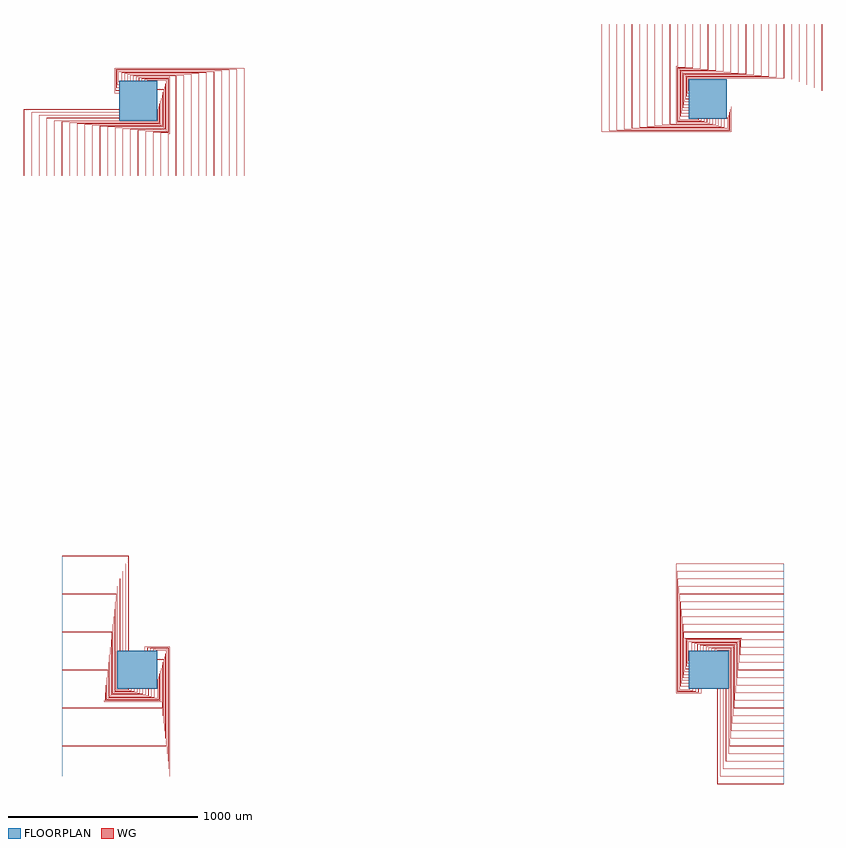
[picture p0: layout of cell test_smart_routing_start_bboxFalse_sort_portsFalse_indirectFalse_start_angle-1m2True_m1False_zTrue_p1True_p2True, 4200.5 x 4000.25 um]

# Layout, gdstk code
import gdstk
lib = gdstk.Library(unit=1e-6, precision=1e-09)
def R(c, l, rs):  # rectangles x0, y0, x1, y1
    for r in rs: c.add(gdstk.rectangle(r[:2], r[2:], *l))
def P(c, l, *ps):  # polygons
    for p in ps: c.add(gdstk.Polygon(p, *l))
WG = (1, 0)
FLOORPLAN = (10, 0)

test_smart_routing_start = lib.new_cell('test_smart_routing_start_bboxFalse_sort_portsFalse_indirectFalse_start_angle-1m2True_m1False_zTrue_p1True_p2True')
P(test_smart_routing_start, WG, [(3100,3050.05),(3100,3050.25),(3599.75,3050.25),(3599.75,3400),(3599.95,3400),(3599.95,3050.05)],
  [(3100,3049.75),(3100,3049.95),(3600.05,3049.95),(3600.05,3400),(3600.25,3400),(3600.25,3049.75)],
  [(3100,3065.05),(3100,3065.25),(3559.75,3065.25),(3559.75,3400),(3559.95,3400),(3559.95,3065.05)],
  [(3100,3064.75),(3100,3064.95),(3560.05,3064.95),(3560.05,3400),(3560.25,3400),(3560.25,3064.75)],
  [(3100,3080.05),(3100,3080.25),(3519.75,3080.25),(3519.75,3400),(3519.95,3400),(3519.95,3080.05)],
  [(3100,3079.75),(3100,3079.95),(3520.05,3079.95),(3520.05,3400),(3520.25,3400),(3520.25,3079.75)],
  [(3100,3095.05),(3100,3095.25),(3479.75,3095.25),(3479.75,3400),(3479.95,3400),(3479.95,3095.05)],
  [(3100,3094.75),(3100,3094.95),(3480.05,3094.95),(3480.05,3400),(3480.25,3400),(3480.25,3094.75)],
  [(3100,3110.05),(3100,3110.25),(3439.75,3110.25),(3439.75,3400),(3439.95,3400),(3439.95,3110.05)],
  [(3100,3109.75),(3100,3109.95),(3440.05,3109.95),(3440.05,3400),(3440.25,3400),(3440.25,3109.75)],
  [(2895.5,3049.75),(2895.5,3114.75),(3399.75,3114.75),(3399.75,3400),(3399.95,3400),(3399.95,3114.55),(2895.7,3114.55),(2895.7,3049.95),(2900,3049.95),(2900,3049.75)],
  [(2895.8,3050.05),(2895.8,3114.45),(3400.05,3114.45),(3400.05,3400),(3400.25,3400),(3400.25,3114.25),(2896,3114.25),(2896,3050.25),(2900,3050.25),(2900,3050.05)],
  [(2891,3034.75),(2891,3119.25),(3359.75,3119.25),(3359.75,3400),(3359.95,3400),(3359.95,3119.05),(2891.2,3119.05),(2891.2,3034.95),(2900,3034.95),(2900,3034.75)],
  [(2891.3,3035.05),(2891.3,3118.95),(3360.05,3118.95),(3360.05,3400),(3360.25,3400),(3360.25,3118.75),(2891.5,3118.75),(2891.5,3035.25),(2900,3035.25),(2900,3035.05)],
  [(2886.5,3019.75),(2886.5,3123.75),(3319.75,3123.75),(3319.75,3400),(3319.95,3400),(3319.95,3123.55),(2886.7,3123.55),(2886.7,3019.95),(2900,3019.95),(2900,3019.75)],
  [(2886.8,3020.05),(2886.8,3123.45),(3320.05,3123.45),(3320.05,3400),(3320.25,3400),(3320.25,3123.25),(2887,3123.25),(2887,3020.25),(2900,3020.25),(2900,3020.05)],
  [(2882,3004.75),(2882,3128.25),(3279.75,3128.25),(3279.75,3400),(3279.95,3400),(3279.95,3128.05),(2882.2,3128.05),(2882.2,3004.95),(2900,3004.95),(2900,3004.75)],
  [(2882.3,3005.05),(2882.3,3127.95),(3280.05,3127.95),(3280.05,3400),(3280.25,3400),(3280.25,3127.75),(2882.5,3127.75),(2882.5,3005.25),(2900,3005.25),(2900,3005.05)],
  [(2877.5,2989.75),(2877.5,3132.75),(3239.75,3132.75),(3239.75,3400),(3239.95,3400),(3239.95,3132.55),(2877.7,3132.55),(2877.7,2989.95),(2900,2989.95),(2900,2989.75)],
  [(2877.8,2990.05),(2877.8,3132.45),(3240.05,3132.45),(3240.05,3400),(3240.25,3400),(3240.25,3132.25),(2878,3132.25),(2878,2990.25),(2900,2990.25),(2900,2990.05)],
  [(2873,2974.75),(2873,3137.25),(3199.75,3137.25),(3199.75,3400),(3199.95,3400),(3199.95,3137.05),(2873.2,3137.05),(2873.2,2974.95),(2900,2974.95),(2900,2974.75)],
  [(2873.3,2975.05),(2873.3,3136.95),(3200.05,3136.95),(3200.05,3400),(3200.25,3400),(3200.25,3136.75),(2873.5,3136.75),(2873.5,2975.25),(2900,2975.25),(2900,2975.05)],
  [(2868.5,2959.75),(2868.5,3141.75),(3159.75,3141.75),(3159.75,3400),(3159.95,3400),(3159.95,3141.55),(2868.7,3141.55),(2868.7,2959.95),(2900,2959.95),(2900,2959.75)],
  [(2868.8,2960.05),(2868.8,3141.45),(3160.05,3141.45),(3160.05,3400),(3160.25,3400),(3160.25,3141.25),(2869,3141.25),(2869,2960.25),(2900,2960.25),(2900,2960.05)],
  [(2864,2944.75),(2864,3146.25),(3119.75,3146.25),(3119.75,3400),(3119.95,3400),(3119.95,3146.05),(2864.2,3146.05),(2864.2,2944.95),(2900,2944.95),(2900,2944.75)],
  [(2864.3,2945.05),(2864.3,3145.95),(3120.05,3145.95),(3120.05,3400),(3120.25,3400),(3120.25,3145.75),(2864.5,3145.75),(2864.5,2945.25),(2900,2945.25),(2900,2945.05)],
  [(2859.5,2929.75),(2859.5,3150.75),(3079.75,3150.75),(3079.75,3400),(3079.95,3400),(3079.95,3150.55),(2859.7,3150.55),(2859.7,2929.95),(2900,2929.95),(2900,2929.75)],
  [(2859.8,2930.05),(2859.8,3150.45),(3080.05,3150.45),(3080.05,3400),(3080.25,3400),(3080.25,3150.25),(2860,3150.25),(2860,2930.25),(2900,2930.25),(2900,2930.05)],
  [(2855,2914.75),(2855,3155.25),(3039.75,3155.25),(3039.75,3400),(3039.95,3400),(3039.95,3155.05),(2855.2,3155.05),(2855.2,2914.95),(2900,2914.95),(2900,2914.75)],
  [(2855.3,2915.05),(2855.3,3154.95),(3040.05,3154.95),(3040.05,3400),(3040.25,3400),(3040.25,3154.75),(2855.5,3154.75),(2855.5,2915.25),(2900,2915.25),(2900,2915.05)],
  [(2850.5,2895.5),(2850.5,3159.75),(2999.75,3159.75),(2999.75,3400),(2999.95,3400),(2999.95,3159.55),(2850.7,3159.55),(2850.7,2895.7),(2950.05,2895.7),(2950.05,2900),(2950.25,2900),(2950.25,2895.5)],
  [(2850.8,2895.8),(2850.8,3159.45),(3000.05,3159.45),(3000.05,3400),(3000.25,3400),(3000.25,3159.25),(2851,3159.25),(2851,2896),(2949.75,2896),(2949.75,2900),(2949.95,2900),(2949.95,2895.8)],
  [(2846,2891),(2846,3164.25),(2959.75,3164.25),(2959.75,3400),(2959.95,3400),(2959.95,3164.05),(2846.2,3164.05),(2846.2,2891.2),(2965.05,2891.2),(2965.05,2900),(2965.25,2900),(2965.25,2891)],
  [(2846.3,2891.3),(2846.3,3163.95),(2960.05,3163.95),(2960.05,3400),(2960.25,3400),(2960.25,3163.75),(2846.5,3163.75),(2846.5,2891.5),(2964.75,2891.5),(2964.75,2900),(2964.95,2900),(2964.95,2891.3)],
  [(2841.5,2886.5),(2841.5,3168.75),(2919.75,3168.75),(2919.75,3400),(2919.95,3400),(2919.95,3168.55),(2841.7,3168.55),(2841.7,2886.7),(2980.05,2886.7),(2980.05,2900),(2980.25,2900),(2980.25,2886.5)],
  [(2841.8,2886.8),(2841.8,3168.45),(2920.05,3168.45),(2920.05,3400),(2920.25,3400),(2920.25,3168.25),(2842,3168.25),(2842,2887),(2979.75,2887),(2979.75,2900),(2979.95,2900),(2979.95,2886.8)],
  [(2837,2882),(2837,3173.25),(2879.75,3173.25),(2879.75,3400),(2879.95,3400),(2879.95,3173.05),(2837.2,3173.05),(2837.2,2882.2),(2995.05,2882.2),(2995.05,2900),(2995.25,2900),(2995.25,2882)],
  [(2837.3,2882.3),(2837.3,3172.95),(2880.05,3172.95),(2880.05,3400),(2880.25,3400),(2880.25,3172.75),(2837.5,3172.75),(2837.5,2882.5),(2994.75,2882.5),(2994.75,2900),(2994.95,2900),(2994.95,2882.3)],
  [(2832.5,2877.5),(2832.5,3177.75),(2839.75,3177.75),(2839.75,3400),(2839.95,3400),(2839.95,3177.55),(2832.7,3177.55),(2832.7,2877.7),(3010.05,2877.7),(3010.05,2900),(3010.25,2900),(3010.25,2877.5)],
  [(2832.8,2877.8),(2832.8,3177.45),(2840.05,3177.45),(2840.05,3400),(2840.25,3400),(2840.25,3177.25),(2833,3177.25),(2833,2878),(3009.75,2878),(3009.75,2900),(3009.95,2900),(3009.95,2877.8)],
  [(2799.75,2873),(2799.75,3400),(2799.95,3400),(2799.95,2873.2),(3025.05,2873.2),(3025.05,2900),(3025.25,2900),(3025.25,2873)],
  [(2800.05,2873.3),(2800.05,3400),(2800.25,3400),(2800.25,2873.5),(3024.75,2873.5),(3024.75,2900),(3024.95,2900),(3024.95,2873.3)],
  [(2759.75,2868.5),(2759.75,3400),(2759.95,3400),(2759.95,2868.7),(3040.05,2868.7),(3040.05,2900),(3040.25,2900),(3040.25,2868.5)],
  [(2760.05,2868.8),(2760.05,3400),(2760.25,3400),(2760.25,2869),(3039.75,2869),(3039.75,2900),(3039.95,2900),(3039.95,2868.8)],
  [(2719.75,2864),(2719.75,3400),(2719.95,3400),(2719.95,2864.2),(3055.05,2864.2),(3055.05,2900),(3055.25,2900),(3055.25,2864)],
  [(2720.05,2864.3),(2720.05,3400),(2720.25,3400),(2720.25,2864.5),(3054.75,2864.5),(3054.75,2900),(3054.95,2900),(3054.95,2864.3)],
  [(2679.75,2859.5),(2679.75,3400),(2679.95,3400),(2679.95,2859.7),(3070.05,2859.7),(3070.05,2900),(3070.25,2900),(3070.25,2859.5)],
  [(2680.05,2859.8),(2680.05,3400),(2680.25,3400),(2680.25,2860),(3069.75,2860),(3069.75,2900),(3069.95,2900),(3069.95,2859.8)],
  [(2639.75,2855),(2639.75,3400),(2639.95,3400),(2639.95,2855.2),(3085.05,2855.2),(3085.05,2900),(3085.25,2900),(3085.25,2855)],
  [(2640.05,2855.3),(2640.05,3400),(2640.25,3400),(2640.25,2855.5),(3084.75,2855.5),(3084.75,2900),(3084.95,2900),(3084.95,2855.3)],
  [(2439.75,2832.5),(2439.75,3400),(2439.95,3400),(2439.95,2832.7),(3122.3,2832.7),(3122.3,2965.05),(3100,2965.05),(3100,2965.25),(3122.5,2965.25),(3122.5,2832.5)],
  [(2440.05,2832.8),(2440.05,3400),(2440.25,3400),(2440.25,2833),(3122,2833),(3122,2964.75),(3100,2964.75),(3100,2964.95),(3122.2,2964.95),(3122.2,2832.8)],
  [(2479.75,2837),(2479.75,3400),(2479.95,3400),(2479.95,2837.2),(3117.8,2837.2),(3117.8,2950.05),(3100,2950.05),(3100,2950.25),(3118,2950.25),(3118,2837)],
  [(2480.05,2837.3),(2480.05,3400),(2480.25,3400),(2480.25,2837.5),(3117.5,2837.5),(3117.5,2949.75),(3100,2949.75),(3100,2949.95),(3117.7,2949.95),(3117.7,2837.3)],
  [(2519.75,2841.5),(2519.75,3400),(2519.95,3400),(2519.95,2841.7),(3113.3,2841.7),(3113.3,2935.05),(3100,2935.05),(3100,2935.25),(3113.5,2935.25),(3113.5,2841.5)],
  [(2520.05,2841.8),(2520.05,3400),(2520.25,3400),(2520.25,2842),(3113,2842),(3113,2934.75),(3100,2934.75),(3100,2934.95),(3113.2,2934.95),(3113.2,2841.8)],
  [(2559.75,2846),(2559.75,3400),(2559.95,3400),(2559.95,2846.2),(3108.8,2846.2),(3108.8,2920.05),(3100,2920.05),(3100,2920.25),(3109,2920.25),(3109,2846)],
  [(2560.05,2846.3),(2560.05,3400),(2560.25,3400),(2560.25,2846.5),(3108.5,2846.5),(3108.5,2919.75),(3100,2919.75),(3100,2919.95),(3108.7,2919.95),(3108.7,2846.3)],
  [(2599.75,2850.5),(2599.75,3400),(2599.95,3400),(2599.95,2850.7),(3104.3,2850.7),(3104.3,2905.05),(3100,2905.05),(3100,2905.25),(3104.5,2905.25),(3104.5,2850.5)],
  [(2600.05,2850.8),(2600.05,3400),(2600.25,3400),(2600.25,2851),(3104,2851),(3104,2904.75),(3100,2904.75),(3100,2904.95),(3104.2,2904.95),(3104.2,2850.8)],
  [(-599.95,2600),(-599.95,2949.95),(-100,2949.95),(-100,2949.75),(-599.75,2949.75),(-599.75,2600)],
  [(-600.25,2600),(-600.25,2950.25),(-100,2950.25),(-100,2950.05),(-600.05,2950.05),(-600.05,2600)],
  [(-559.95,2600),(-559.95,2934.95),(-100,2934.95),(-100,2934.75),(-559.75,2934.75),(-559.75,2600)],
  [(-560.25,2600),(-560.25,2935.25),(-100,2935.25),(-100,2935.05),(-560.05,2935.05),(-560.05,2600)],
  [(-519.95,2600),(-519.95,2919.95),(-100,2919.95),(-100,2919.75),(-519.75,2919.75),(-519.75,2600)],
  [(-520.25,2600),(-520.25,2920.25),(-100,2920.25),(-100,2920.05),(-520.05,2920.05),(-520.05,2600)],
  [(-479.95,2600),(-479.95,2904.95),(-100,2904.95),(-100,2904.75),(-479.75,2904.75),(-479.75,2600)],
  [(-480.25,2600),(-480.25,2905.25),(-100,2905.25),(-100,2905.05),(-480.05,2905.05),(-480.05,2600)],
  [(-439.95,2600),(-439.95,2889.95),(-100,2889.95),(-100,2889.75),(-439.75,2889.75),(-439.75,2600)],
  [(-440.25,2600),(-440.25,2890.25),(-100,2890.25),(-100,2890.05),(-440.05,2890.05),(-440.05,2600)],
  [(-400.25,2600),(-400.25,2885.75),(104,2885.75),(104,2949.75),(100,2949.75),(100,2949.95),(104.2,2949.95),(104.2,2885.55),(-400.05,2885.55),(-400.05,2600)],
  [(-399.95,2600),(-399.95,2885.45),(104.3,2885.45),(104.3,2950.05),(100,2950.05),(100,2950.25),(104.5,2950.25),(104.5,2885.25),(-399.75,2885.25),(-399.75,2600)],
  [(-360.25,2600),(-360.25,2881.25),(108.5,2881.25),(108.5,2964.75),(100,2964.75),(100,2964.95),(108.7,2964.95),(108.7,2881.05),(-360.05,2881.05),(-360.05,2600)],
  [(-359.95,2600),(-359.95,2880.95),(108.8,2880.95),(108.8,2965.05),(100,2965.05),(100,2965.25),(109,2965.25),(109,2880.75),(-359.75,2880.75),(-359.75,2600)],
  [(-320.25,2600),(-320.25,2876.75),(113,2876.75),(113,2979.75),(100,2979.75),(100,2979.95),(113.2,2979.95),(113.2,2876.55),(-320.05,2876.55),(-320.05,2600)],
  [(-319.95,2600),(-319.95,2876.45),(113.3,2876.45),(113.3,2980.05),(100,2980.05),(100,2980.25),(113.5,2980.25),(113.5,2876.25),(-319.75,2876.25),(-319.75,2600)],
  [(-280.25,2600),(-280.25,2872.25),(117.5,2872.25),(117.5,2994.75),(100,2994.75),(100,2994.95),(117.7,2994.95),(117.7,2872.05),(-280.05,2872.05),(-280.05,2600)],
  [(-279.95,2600),(-279.95,2871.95),(117.8,2871.95),(117.8,2995.05),(100,2995.05),(100,2995.25),(118,2995.25),(118,2871.75),(-279.75,2871.75),(-279.75,2600)],
  [(-240.25,2600),(-240.25,2867.75),(122,2867.75),(122,3009.75),(100,3009.75),(100,3009.95),(122.2,3009.95),(122.2,2867.55),(-240.05,2867.55),(-240.05,2600)],
  [(-239.95,2600),(-239.95,2867.45),(122.3,2867.45),(122.3,3010.05),(100,3010.05),(100,3010.25),(122.5,3010.25),(122.5,2867.25),(-239.75,2867.25),(-239.75,2600)],
  [(-200.25,2600),(-200.25,2863.25),(126.5,2863.25),(126.5,3024.75),(100,3024.75),(100,3024.95),(126.7,3024.95),(126.7,2863.05),(-200.05,2863.05),(-200.05,2600)],
  [(-199.95,2600),(-199.95,2862.95),(126.8,2862.95),(126.8,3025.05),(100,3025.05),(100,3025.25),(127,3025.25),(127,2862.75),(-199.75,2862.75),(-199.75,2600)],
  [(-160.25,2600),(-160.25,2858.75),(131,2858.75),(131,3039.75),(100,3039.75),(100,3039.95),(131.2,3039.95),(131.2,2858.55),(-160.05,2858.55),(-160.05,2600)],
  [(-159.95,2600),(-159.95,2858.45),(131.3,2858.45),(131.3,3040.05),(100,3040.05),(100,3040.25),(131.5,3040.25),(131.5,2858.25),(-159.75,2858.25),(-159.75,2600)],
  [(-120.25,2600),(-120.25,2854.25),(135.5,2854.25),(135.5,3054.75),(100,3054.75),(100,3054.95),(135.7,3054.95),(135.7,2854.05),(-120.05,2854.05),(-120.05,2600)],
  [(-119.95,2600),(-119.95,2853.95),(135.8,2853.95),(135.8,3055.05),(100,3055.05),(100,3055.25),(136,3055.25),(136,2853.75),(-119.75,2853.75),(-119.75,2600)],
  [(-80.25,2600),(-80.25,2849.75),(140,2849.75),(140,3069.75),(100,3069.75),(100,3069.95),(140.2,3069.95),(140.2,2849.55),(-80.05,2849.55),(-80.05,2600)],
  [(-79.95,2600),(-79.95,2849.45),(140.3,2849.45),(140.3,3070.05),(100,3070.05),(100,3070.25),(140.5,3070.25),(140.5,2849.25),(-79.75,2849.25),(-79.75,2600)],
  [(-40.25,2600),(-40.25,2845.25),(144.5,2845.25),(144.5,3084.75),(100,3084.75),(100,3084.95),(144.7,3084.95),(144.7,2845.05),(-40.05,2845.05),(-40.05,2600)],
  [(-39.95,2600),(-39.95,2844.95),(144.8,2844.95),(144.8,3085.05),(100,3085.05),(100,3085.25),(145,3085.25),(145,2844.75),(-39.75,2844.75),(-39.75,2600)],
  [(-0.25,2600),(-0.25,2840.75),(149,2840.75),(149,3104),(50.25,3104),(50.25,3100),(50.05,3100),(50.05,3104.2),(149.2,3104.2),(149.2,2840.55),(-0.05,2840.55),(-0.05,2600)],
  [(0.05,2600),(0.05,2840.45),(149.3,2840.45),(149.3,3104.3),(49.95,3104.3),(49.95,3100),(49.75,3100),(49.75,3104.5),(149.5,3104.5),(149.5,2840.25),(0.25,2840.25),(0.25,2600)],
  [(39.75,2600),(39.75,2836.25),(153.5,2836.25),(153.5,3108.5),(35.25,3108.5),(35.25,3100),(35.05,3100),(35.05,3108.7),(153.7,3108.7),(153.7,2836.05),(39.95,2836.05),(39.95,2600)],
  [(40.05,2600),(40.05,2835.95),(153.8,2835.95),(153.8,3108.8),(34.95,3108.8),(34.95,3100),(34.75,3100),(34.75,3109),(154,3109),(154,2835.75),(40.25,2835.75),(40.25,2600)],
  [(79.75,2600),(79.75,2831.75),(158,2831.75),(158,3113),(20.25,3113),(20.25,3100),(20.05,3100),(20.05,3113.2),(158.2,3113.2),(158.2,2831.55),(79.95,2831.55),(79.95,2600)],
  [(80.05,2600),(80.05,2831.45),(158.3,2831.45),(158.3,3113.3),(19.95,3113.3),(19.95,3100),(19.75,3100),(19.75,3113.5),(158.5,3113.5),(158.5,2831.25),(80.25,2831.25),(80.25,2600)],
  [(119.75,2600),(119.75,2827.25),(162.5,2827.25),(162.5,3117.5),(5.25,3117.5),(5.25,3100),(5.05,3100),(5.05,3117.7),(162.7,3117.7),(162.7,2827.05),(119.95,2827.05),(119.95,2600)],
  [(120.05,2600),(120.05,2826.95),(162.8,2826.95),(162.8,3117.8),(4.95,3117.8),(4.95,3100),(4.75,3100),(4.75,3118),(163,3118),(163,2826.75),(120.25,2826.75),(120.25,2600)],
  [(159.75,2600),(159.75,2822.75),(167,2822.75),(167,3122),(-9.75,3122),(-9.75,3100),(-9.95,3100),(-9.95,3122.2),(167.2,3122.2),(167.2,2822.55),(159.95,2822.55),(159.95,2600)],
  [(160.05,2600),(160.05,2822.45),(167.3,2822.45),(167.3,3122.3),(-10.05,3122.3),(-10.05,3100),(-10.25,3100),(-10.25,3122.5),(167.5,3122.5),(167.5,2822.25),(160.25,2822.25),(160.25,2600)],
  [(199.75,2600),(199.75,3126.5),(-24.75,3126.5),(-24.75,3100),(-24.95,3100),(-24.95,3126.7),(199.95,3126.7),(199.95,2600)],
  [(200.05,2600),(200.05,3126.8),(-25.05,3126.8),(-25.05,3100),(-25.25,3100),(-25.25,3127),(200.25,3127),(200.25,2600)],
  [(239.75,2600),(239.75,3131),(-39.75,3131),(-39.75,3100),(-39.95,3100),(-39.95,3131.2),(239.95,3131.2),(239.95,2600)],
  [(240.05,2600),(240.05,3131.3),(-40.05,3131.3),(-40.05,3100),(-40.25,3100),(-40.25,3131.5),(240.25,3131.5),(240.25,2600)],
  [(279.75,2600),(279.75,3135.5),(-54.75,3135.5),(-54.75,3100),(-54.95,3100),(-54.95,3135.7),(279.95,3135.7),(279.95,2600)],
  [(280.05,2600),(280.05,3135.8),(-55.05,3135.8),(-55.05,3100),(-55.25,3100),(-55.25,3136),(280.25,3136),(280.25,2600)],
  [(319.75,2600),(319.75,3140),(-69.75,3140),(-69.75,3100),(-69.95,3100),(-69.95,3140.2),(319.95,3140.2),(319.95,2600)],
  [(320.05,2600),(320.05,3140.3),(-70.05,3140.3),(-70.05,3100),(-70.25,3100),(-70.25,3140.5),(320.25,3140.5),(320.25,2600)],
  [(359.75,2600),(359.75,3144.5),(-84.75,3144.5),(-84.75,3100),(-84.95,3100),(-84.95,3144.7),(359.95,3144.7),(359.95,2600)],
  [(360.05,2600),(360.05,3144.8),(-85.05,3144.8),(-85.05,3100),(-85.25,3100),(-85.25,3145),(360.25,3145),(360.25,2600)],
  [(559.75,2600),(559.75,3167),(-122,3167),(-122,3035.25),(-100,3035.25),(-100,3035.05),(-122.2,3035.05),(-122.2,3167.2),(559.95,3167.2),(559.95,2600)],
  [(560.05,2600),(560.05,3167.3),(-122.3,3167.3),(-122.3,3034.95),(-100,3034.95),(-100,3034.75),(-122.5,3034.75),(-122.5,3167.5),(560.25,3167.5),(560.25,2600)],
  [(519.75,2600),(519.75,3162.5),(-117.5,3162.5),(-117.5,3050.25),(-100,3050.25),(-100,3050.05),(-117.7,3050.05),(-117.7,3162.7),(519.95,3162.7),(519.95,2600)],
  [(520.05,2600),(520.05,3162.8),(-117.8,3162.8),(-117.8,3049.95),(-100,3049.95),(-100,3049.75),(-118,3049.75),(-118,3163),(520.25,3163),(520.25,2600)],
  [(479.75,2600),(479.75,3158),(-113,3158),(-113,3065.25),(-100,3065.25),(-100,3065.05),(-113.2,3065.05),(-113.2,3158.2),(479.95,3158.2),(479.95,2600)],
  [(480.05,2600),(480.05,3158.3),(-113.3,3158.3),(-113.3,3064.95),(-100,3064.95),(-100,3064.75),(-113.5,3064.75),(-113.5,3158.5),(480.25,3158.5),(480.25,2600)],
  [(439.75,2600),(439.75,3153.5),(-108.5,3153.5),(-108.5,3080.25),(-100,3080.25),(-100,3080.05),(-108.7,3080.05),(-108.7,3153.7),(439.95,3153.7),(439.95,2600)],
  [(440.05,2600),(440.05,3153.8),(-108.8,3153.8),(-108.8,3079.95),(-100,3079.95),(-100,3079.75),(-109,3079.75),(-109,3154),(440.25,3154),(440.25,2600)],
  [(399.75,2600),(399.75,3149),(-104,3149),(-104,3095.25),(-100,3095.25),(-100,3095.05),(-104.2,3095.05),(-104.2,3149.2),(399.95,3149.2),(399.95,2600)],
  [(400.05,2600),(400.05,3149.3),(-104.3,3149.3),(-104.3,3094.95),(-100,3094.95),(-100,3094.75),(-104.5,3094.75),(-104.5,3149.5),(400.25,3149.5),(400.25,2600)],
  [(-50.25,100),(-50.25,599.75),(-400,599.75),(-400,599.95),(-50.05,599.95),(-50.05,100)],
  [(-49.95,100),(-49.95,600.05),(-400,600.05),(-400,600.25),(-49.75,600.25),(-49.75,100)],
  [(-65.25,100),(-65.25,559.75),(-400,559.75),(-400,559.95),(-65.05,559.95),(-65.05,100)],
  [(-64.95,100),(-64.95,560.05),(-400,560.05),(-400,560.25),(-64.75,560.25),(-64.75,100)],
  [(-80.25,100),(-80.25,519.75),(-400,519.75),(-400,519.95),(-80.05,519.95),(-80.05,100)],
  [(-79.95,100),(-79.95,520.05),(-400,520.05),(-400,520.25),(-79.75,520.25),(-79.75,100)],
  [(-95.25,100),(-95.25,479.75),(-400,479.75),(-400,479.95),(-95.05,479.95),(-95.05,100)],
  [(-94.95,100),(-94.95,480.05),(-400,480.05),(-400,480.25),(-94.75,480.25),(-94.75,100)],
  [(-110.25,100),(-110.25,439.75),(-400,439.75),(-400,439.95),(-110.05,439.95),(-110.05,100)],
  [(-109.95,100),(-109.95,440.05),(-400,440.05),(-400,440.25),(-109.75,440.25),(-109.75,100)],
  [(-114.75,-104.5),(-114.75,399.75),(-400,399.75),(-400,399.95),(-114.55,399.95),(-114.55,-104.3),(-49.95,-104.3),(-49.95,-100),(-49.75,-100),(-49.75,-104.5)],
  [(-114.45,-104.2),(-114.45,400.05),(-400,400.05),(-400,400.25),(-114.25,400.25),(-114.25,-104),(-50.25,-104),(-50.25,-100),(-50.05,-100),(-50.05,-104.2)],
  [(-119.25,-109),(-119.25,359.75),(-400,359.75),(-400,359.95),(-119.05,359.95),(-119.05,-108.8),(-34.95,-108.8),(-34.95,-100),(-34.75,-100),(-34.75,-109)],
  [(-118.95,-108.7),(-118.95,360.05),(-400,360.05),(-400,360.25),(-118.75,360.25),(-118.75,-108.5),(-35.25,-108.5),(-35.25,-100),(-35.05,-100),(-35.05,-108.7)],
  [(-123.75,-113.5),(-123.75,319.75),(-400,319.75),(-400,319.95),(-123.55,319.95),(-123.55,-113.3),(-19.95,-113.3),(-19.95,-100),(-19.75,-100),(-19.75,-113.5)],
  [(-123.45,-113.2),(-123.45,320.05),(-400,320.05),(-400,320.25),(-123.25,320.25),(-123.25,-113),(-20.25,-113),(-20.25,-100),(-20.05,-100),(-20.05,-113.2)],
  [(-128.25,-118),(-128.25,279.75),(-400,279.75),(-400,279.95),(-128.05,279.95),(-128.05,-117.8),(-4.95,-117.8),(-4.95,-100),(-4.75,-100),(-4.75,-118)],
  [(-127.95,-117.7),(-127.95,280.05),(-400,280.05),(-400,280.25),(-127.75,280.25),(-127.75,-117.5),(-5.25,-117.5),(-5.25,-100),(-5.05,-100),(-5.05,-117.7)],
  [(-132.75,-122.5),(-132.75,239.75),(-400,239.75),(-400,239.95),(-132.55,239.95),(-132.55,-122.3),(10.05,-122.3),(10.05,-100),(10.25,-100),(10.25,-122.5)],
  [(-132.45,-122.2),(-132.45,240.05),(-400,240.05),(-400,240.25),(-132.25,240.25),(-132.25,-122),(9.75,-122),(9.75,-100),(9.95,-100),(9.95,-122.2)],
  [(-137.25,-127),(-137.25,199.75),(-400,199.75),(-400,199.95),(-137.05,199.95),(-137.05,-126.8),(25.05,-126.8),(25.05,-100),(25.25,-100),(25.25,-127)],
  [(-136.95,-126.7),(-136.95,200.05),(-400,200.05),(-400,200.25),(-136.75,200.25),(-136.75,-126.5),(24.75,-126.5),(24.75,-100),(24.95,-100),(24.95,-126.7)],
  [(-141.75,-131.5),(-141.75,159.75),(-400,159.75),(-400,159.95),(-141.55,159.95),(-141.55,-131.3),(40.05,-131.3),(40.05,-100),(40.25,-100),(40.25,-131.5)],
  [(-141.45,-131.2),(-141.45,160.05),(-400,160.05),(-400,160.25),(-141.25,160.25),(-141.25,-131),(39.75,-131),(39.75,-100),(39.95,-100),(39.95,-131.2)],
  [(-146.25,-136),(-146.25,119.75),(-400,119.75),(-400,119.95),(-146.05,119.95),(-146.05,-135.8),(55.05,-135.8),(55.05,-100),(55.25,-100),(55.25,-136)],
  [(-145.95,-135.7),(-145.95,120.05),(-400,120.05),(-400,120.25),(-145.75,120.25),(-145.75,-135.5),(54.75,-135.5),(54.75,-100),(54.95,-100),(54.95,-135.7)],
  [(-150.75,-140.5),(-150.75,79.75),(-400,79.75),(-400,79.95),(-150.55,79.95),(-150.55,-140.3),(70.05,-140.3),(70.05,-100),(70.25,-100),(70.25,-140.5)],
  [(-150.45,-140.2),(-150.45,80.05),(-400,80.05),(-400,80.25),(-150.25,80.25),(-150.25,-140),(69.75,-140),(69.75,-100),(69.95,-100),(69.95,-140.2)],
  [(-155.25,-145),(-155.25,39.75),(-400,39.75),(-400,39.95),(-155.05,39.95),(-155.05,-144.8),(85.05,-144.8),(85.05,-100),(85.25,-100),(85.25,-145)],
  [(-154.95,-144.7),(-154.95,40.05),(-400,40.05),(-400,40.25),(-154.75,40.25),(-154.75,-144.5),(84.75,-144.5),(84.75,-100),(84.95,-100),(84.95,-144.7)],
  [(-159.75,-149.5),(-159.75,-0.25),(-400,-0.25),(-400,-0.05),(-159.55,-0.05),(-159.55,-149.3),(104.3,-149.3),(104.3,-49.95),(100,-49.95),(100,-49.75),(104.5,-49.75),(104.5,-149.5)],
  [(-159.45,-149.2),(-159.45,0.05),(-400,0.05),(-400,0.25),(-159.25,0.25),(-159.25,-149),(104,-149),(104,-50.25),(100,-50.25),(100,-50.05),(104.2,-50.05),(104.2,-149.2)],
  [(-163.95,-153.7),(-163.95,-39.95),(-400,-39.95),(-400,-39.75),(-163.75,-39.75),(-163.75,-153.5),(108.5,-153.5),(108.5,-35.25),(100,-35.25),(100,-35.05),(108.7,-35.05),(108.7,-153.7)],
  [(-164.25,-154),(-164.25,-40.25),(-400,-40.25),(-400,-40.05),(-164.05,-40.05),(-164.05,-153.8),(108.8,-153.8),(108.8,-34.95),(100,-34.95),(100,-34.75),(109,-34.75),(109,-154)],
  [(-168.45,-158.2),(-168.45,-79.95),(-400,-79.95),(-400,-79.75),(-168.25,-79.75),(-168.25,-158),(113,-158),(113,-20.25),(100,-20.25),(100,-20.05),(113.2,-20.05),(113.2,-158.2)],
  [(-168.75,-158.5),(-168.75,-80.25),(-400,-80.25),(-400,-80.05),(-168.55,-80.05),(-168.55,-158.3),(113.3,-158.3),(113.3,-19.95),(100,-19.95),(100,-19.75),(113.5,-19.75),(113.5,-158.5)],
  [(-172.95,-162.7),(-172.95,-119.95),(-400,-119.95),(-400,-119.75),(-172.75,-119.75),(-172.75,-162.5),(117.5,-162.5),(117.5,-5.25),(100,-5.25),(100,-5.05),(117.7,-5.05),(117.7,-162.7)],
  [(-173.25,-163),(-173.25,-120.25),(-400,-120.25),(-400,-120.05),(-173.05,-120.05),(-173.05,-162.8),(117.8,-162.8),(117.8,-4.95),(100,-4.95),(100,-4.75),(118,-4.75),(118,-163)],
  [(-177.45,-167.2),(-177.45,-159.95),(-400,-159.95),(-400,-159.75),(-177.25,-159.75),(-177.25,-167),(122,-167),(122,9.75),(100,9.75),(100,9.95),(122.2,9.95),(122.2,-167.2)],
  [(-177.75,-167.5),(-177.75,-160.25),(-400,-160.25),(-400,-160.05),(-177.55,-160.05),(-177.55,-167.3),(122.3,-167.3),(122.3,10.05),(100,10.05),(100,10.25),(122.5,10.25),(122.5,-167.5)],
  [(-400,-199.95),(-400,-199.75),(126.5,-199.75),(126.5,24.75),(100,24.75),(100,24.95),(126.7,24.95),(126.7,-199.95)],
  [(-400,-200.25),(-400,-200.05),(126.8,-200.05),(126.8,25.05),(100,25.05),(100,25.25),(127,25.25),(127,-200.25)],
  [(-400,-239.95),(-400,-239.75),(131,-239.75),(131,39.75),(100,39.75),(100,39.95),(131.2,39.95),(131.2,-239.95)],
  [(-400,-240.25),(-400,-240.05),(131.3,-240.05),(131.3,40.05),(100,40.05),(100,40.25),(131.5,40.25),(131.5,-240.25)],
  [(-400,-279.95),(-400,-279.75),(135.5,-279.75),(135.5,54.75),(100,54.75),(100,54.95),(135.7,54.95),(135.7,-279.95)],
  [(-400,-280.25),(-400,-280.05),(135.8,-280.05),(135.8,55.05),(100,55.05),(100,55.25),(136,55.25),(136,-280.25)],
  [(-400,-319.95),(-400,-319.75),(140,-319.75),(140,69.75),(100,69.75),(100,69.95),(140.2,69.95),(140.2,-319.95)],
  [(-400,-320.25),(-400,-320.05),(140.3,-320.05),(140.3,70.05),(100,70.05),(100,70.25),(140.5,70.25),(140.5,-320.25)],
  [(-400,-359.95),(-400,-359.75),(144.5,-359.75),(144.5,84.75),(100,84.75),(100,84.95),(144.7,84.95),(144.7,-359.95)],
  [(-400,-360.25),(-400,-360.05),(144.8,-360.05),(144.8,85.05),(100,85.05),(100,85.25),(145,85.25),(145,-360.25)],
  [(-400,-559.95),(-400,-559.75),(167,-559.75),(167,122),(35.25,122),(35.25,100),(35.05,100),(35.05,122.2),(167.2,122.2),(167.2,-559.95)],
  [(-400,-560.25),(-400,-560.05),(167.3,-560.05),(167.3,122.3),(34.95,122.3),(34.95,100),(34.75,100),(34.75,122.5),(167.5,122.5),(167.5,-560.25)],
  [(-400,-519.95),(-400,-519.75),(162.5,-519.75),(162.5,117.5),(50.25,117.5),(50.25,100),(50.05,100),(50.05,117.7),(162.7,117.7),(162.7,-519.95)],
  [(-400,-520.25),(-400,-520.05),(162.8,-520.05),(162.8,117.8),(49.95,117.8),(49.95,100),(49.75,100),(49.75,118),(163,118),(163,-520.25)],
  [(-400,-479.95),(-400,-479.75),(158,-479.75),(158,113),(65.25,113),(65.25,100),(65.05,100),(65.05,113.2),(158.2,113.2),(158.2,-479.95)],
  [(-400,-480.25),(-400,-480.05),(158.3,-480.05),(158.3,113.3),(64.95,113.3),(64.95,100),(64.75,100),(64.75,113.5),(158.5,113.5),(158.5,-480.25)],
  [(-400,-439.95),(-400,-439.75),(153.5,-439.75),(153.5,108.5),(80.25,108.5),(80.25,100),(80.05,100),(80.05,108.7),(153.7,108.7),(153.7,-439.95)],
  [(-400,-440.25),(-400,-440.05),(153.8,-440.05),(153.8,108.8),(79.95,108.8),(79.95,100),(79.75,100),(79.75,109),(154,109),(154,-440.25)],
  [(-400,-399.95),(-400,-399.75),(149,-399.75),(149,104),(95.25,104),(95.25,100),(95.05,100),(95.05,104.2),(149.2,104.2),(149.2,-399.95)],
  [(-400,-400.25),(-400,-400.05),(149.3,-400.05),(149.3,104.3),(94.95,104.3),(94.95,100),(94.75,100),(94.75,104.5),(149.5,104.5),(149.5,-400.25)],
  [(3049.75,-600.25),(3049.75,-100),(3049.95,-100),(3049.95,-600.05),(3400,-600.05),(3400,-600.25)],
  [(3050.05,-599.95),(3050.05,-100),(3050.25,-100),(3050.25,-599.75),(3400,-599.75),(3400,-599.95)],
  [(3064.75,-560.25),(3064.75,-100),(3064.95,-100),(3064.95,-560.05),(3400,-560.05),(3400,-560.25)],
  [(3065.05,-559.95),(3065.05,-100),(3065.25,-100),(3065.25,-559.75),(3400,-559.75),(3400,-559.95)],
  [(3079.75,-520.25),(3079.75,-100),(3079.95,-100),(3079.95,-520.05),(3400,-520.05),(3400,-520.25)],
  [(3080.05,-519.95),(3080.05,-100),(3080.25,-100),(3080.25,-519.75),(3400,-519.75),(3400,-519.95)],
  [(3094.75,-480.25),(3094.75,-100),(3094.95,-100),(3094.95,-480.05),(3400,-480.05),(3400,-480.25)],
  [(3095.05,-479.95),(3095.05,-100),(3095.25,-100),(3095.25,-479.75),(3400,-479.75),(3400,-479.95)],
  [(3109.75,-440.25),(3109.75,-100),(3109.95,-100),(3109.95,-440.05),(3400,-440.05),(3400,-440.25)],
  [(3110.05,-439.95),(3110.05,-100),(3110.25,-100),(3110.25,-439.75),(3400,-439.75),(3400,-439.95)],
  [(3114.25,-400.25),(3114.25,104),(3050.25,104),(3050.25,100),(3050.05,100),(3050.05,104.2),(3114.45,104.2),(3114.45,-400.05),(3400,-400.05),(3400,-400.25)],
  [(3114.55,-399.95),(3114.55,104.3),(3049.95,104.3),(3049.95,100),(3049.75,100),(3049.75,104.5),(3114.75,104.5),(3114.75,-399.75),(3400,-399.75),(3400,-399.95)],
  [(3118.75,-360.25),(3118.75,108.5),(3035.25,108.5),(3035.25,100),(3035.05,100),(3035.05,108.7),(3118.95,108.7),(3118.95,-360.05),(3400,-360.05),(3400,-360.25)],
  [(3119.05,-359.95),(3119.05,108.8),(3034.95,108.8),(3034.95,100),(3034.75,100),(3034.75,109),(3119.25,109),(3119.25,-359.75),(3400,-359.75),(3400,-359.95)],
  [(3123.25,-320.25),(3123.25,113),(3020.25,113),(3020.25,100),(3020.05,100),(3020.05,113.2),(3123.45,113.2),(3123.45,-320.05),(3400,-320.05),(3400,-320.25)],
  [(3123.55,-319.95),(3123.55,113.3),(3019.95,113.3),(3019.95,100),(3019.75,100),(3019.75,113.5),(3123.75,113.5),(3123.75,-319.75),(3400,-319.75),(3400,-319.95)],
  [(3127.75,-280.25),(3127.75,117.5),(3005.25,117.5),(3005.25,100),(3005.05,100),(3005.05,117.7),(3127.95,117.7),(3127.95,-280.05),(3400,-280.05),(3400,-280.25)],
  [(3128.05,-279.95),(3128.05,117.8),(3004.95,117.8),(3004.95,100),(3004.75,100),(3004.75,118),(3128.25,118),(3128.25,-279.75),(3400,-279.75),(3400,-279.95)],
  [(3132.25,-240.25),(3132.25,122),(2990.25,122),(2990.25,100),(2990.05,100),(2990.05,122.2),(3132.45,122.2),(3132.45,-240.05),(3400,-240.05),(3400,-240.25)],
  [(3132.55,-239.95),(3132.55,122.3),(2989.95,122.3),(2989.95,100),(2989.75,100),(2989.75,122.5),(3132.75,122.5),(3132.75,-239.75),(3400,-239.75),(3400,-239.95)],
  [(3136.75,-200.25),(3136.75,126.5),(2975.25,126.5),(2975.25,100),(2975.05,100),(2975.05,126.7),(3136.95,126.7),(3136.95,-200.05),(3400,-200.05),(3400,-200.25)],
  [(3137.05,-199.95),(3137.05,126.8),(2974.95,126.8),(2974.95,100),(2974.75,100),(2974.75,127),(3137.25,127),(3137.25,-199.75),(3400,-199.75),(3400,-199.95)],
  [(3141.25,-160.25),(3141.25,131),(2960.25,131),(2960.25,100),(2960.05,100),(2960.05,131.2),(3141.45,131.2),(3141.45,-160.05),(3400,-160.05),(3400,-160.25)],
  [(3141.55,-159.95),(3141.55,131.3),(2959.95,131.3),(2959.95,100),(2959.75,100),(2959.75,131.5),(3141.75,131.5),(3141.75,-159.75),(3400,-159.75),(3400,-159.95)],
  [(3145.75,-120.25),(3145.75,135.5),(2945.25,135.5),(2945.25,100),(2945.05,100),(2945.05,135.7),(3145.95,135.7),(3145.95,-120.05),(3400,-120.05),(3400,-120.25)],
  [(3146.05,-119.95),(3146.05,135.8),(2944.95,135.8),(2944.95,100),(2944.75,100),(2944.75,136),(3146.25,136),(3146.25,-119.75),(3400,-119.75),(3400,-119.95)],
  [(3150.25,-80.25),(3150.25,140),(2930.25,140),(2930.25,100),(2930.05,100),(2930.05,140.2),(3150.45,140.2),(3150.45,-80.05),(3400,-80.05),(3400,-80.25)],
  [(3150.55,-79.95),(3150.55,140.3),(2929.95,140.3),(2929.95,100),(2929.75,100),(2929.75,140.5),(3150.75,140.5),(3150.75,-79.75),(3400,-79.75),(3400,-79.95)],
  [(3154.75,-40.25),(3154.75,144.5),(2915.25,144.5),(2915.25,100),(2915.05,100),(2915.05,144.7),(3154.95,144.7),(3154.95,-40.05),(3400,-40.05),(3400,-40.25)],
  [(3155.05,-39.95),(3155.05,144.8),(2914.95,144.8),(2914.95,100),(2914.75,100),(2914.75,145),(3155.25,145),(3155.25,-39.75),(3400,-39.75),(3400,-39.95)],
  [(3159.25,-0.25),(3159.25,149),(2896,149),(2896,50.25),(2900,50.25),(2900,50.05),(2895.8,50.05),(2895.8,149.2),(3159.45,149.2),(3159.45,-0.05),(3400,-0.05),(3400,-0.25)],
  [(3159.55,0.05),(3159.55,149.3),(2895.7,149.3),(2895.7,49.95),(2900,49.95),(2900,49.75),(2895.5,49.75),(2895.5,149.5),(3159.75,149.5),(3159.75,0.25),(3400,0.25),(3400,0.05)],
  [(2891.3,35.05),(2891.3,153.7),(3163.95,153.7),(3163.95,39.95),(3400,39.95),(3400,39.75),(3163.75,39.75),(3163.75,153.5),(2891.5,153.5),(2891.5,35.25),(2900,35.25),(2900,35.05)],
  [(2891,34.75),(2891,154),(3164.25,154),(3164.25,40.25),(3400,40.25),(3400,40.05),(3164.05,40.05),(3164.05,153.8),(2891.2,153.8),(2891.2,34.95),(2900,34.95),(2900,34.75)],
  [(2886.8,20.05),(2886.8,158.2),(3168.45,158.2),(3168.45,79.95),(3400,79.95),(3400,79.75),(3168.25,79.75),(3168.25,158),(2887,158),(2887,20.25),(2900,20.25),(2900,20.05)],
  [(2886.5,19.75),(2886.5,158.5),(3168.75,158.5),(3168.75,80.25),(3400,80.25),(3400,80.05),(3168.55,80.05),(3168.55,158.3),(2886.7,158.3),(2886.7,19.95),(2900,19.95),(2900,19.75)],
  [(2882.3,5.05),(2882.3,162.7),(3172.95,162.7),(3172.95,119.95),(3400,119.95),(3400,119.75),(3172.75,119.75),(3172.75,162.5),(2882.5,162.5),(2882.5,5.25),(2900,5.25),(2900,5.05)],
  [(2882,4.75),(2882,163),(3173.25,163),(3173.25,120.25),(3400,120.25),(3400,120.05),(3173.05,120.05),(3173.05,162.8),(2882.2,162.8),(2882.2,4.95),(2900,4.95),(2900,4.75)],
  [(2877.8,-9.95),(2877.8,167.2),(3177.45,167.2),(3177.45,159.95),(3400,159.95),(3400,159.75),(3177.25,159.75),(3177.25,167),(2878,167),(2878,-9.75),(2900,-9.75),(2900,-9.95)],
  [(2877.5,-10.25),(2877.5,167.5),(3177.75,167.5),(3177.75,160.25),(3400,160.25),(3400,160.05),(3177.55,160.05),(3177.55,167.3),(2877.7,167.3),(2877.7,-10.05),(2900,-10.05),(2900,-10.25)],
  [(2873.3,-24.95),(2873.3,199.95),(3400,199.95),(3400,199.75),(2873.5,199.75),(2873.5,-24.75),(2900,-24.75),(2900,-24.95)],
  [(2873,-25.25),(2873,200.25),(3400,200.25),(3400,200.05),(2873.2,200.05),(2873.2,-25.05),(2900,-25.05),(2900,-25.25)],
  [(2868.8,-39.95),(2868.8,239.95),(3400,239.95),(3400,239.75),(2869,239.75),(2869,-39.75),(2900,-39.75),(2900,-39.95)],
  [(2868.5,-40.25),(2868.5,240.25),(3400,240.25),(3400,240.05),(2868.7,240.05),(2868.7,-40.05),(2900,-40.05),(2900,-40.25)],
  [(2864.3,-54.95),(2864.3,279.95),(3400,279.95),(3400,279.75),(2864.5,279.75),(2864.5,-54.75),(2900,-54.75),(2900,-54.95)],
  [(2864,-55.25),(2864,280.25),(3400,280.25),(3400,280.05),(2864.2,280.05),(2864.2,-55.05),(2900,-55.05),(2900,-55.25)],
  [(2859.8,-69.95),(2859.8,319.95),(3400,319.95),(3400,319.75),(2860,319.75),(2860,-69.75),(2900,-69.75),(2900,-69.95)],
  [(2859.5,-70.25),(2859.5,320.25),(3400,320.25),(3400,320.05),(2859.7,320.05),(2859.7,-70.05),(2900,-70.05),(2900,-70.25)],
  [(2855.3,-84.95),(2855.3,359.95),(3400,359.95),(3400,359.75),(2855.5,359.75),(2855.5,-84.75),(2900,-84.75),(2900,-84.95)],
  [(2855,-85.25),(2855,360.25),(3400,360.25),(3400,360.05),(2855.2,360.05),(2855.2,-85.05),(2900,-85.05),(2900,-85.25)],
  [(2832.8,-122.2),(2832.8,559.95),(3400,559.95),(3400,559.75),(2833,559.75),(2833,-122),(2964.75,-122),(2964.75,-100),(2964.95,-100),(2964.95,-122.2)],
  [(2832.5,-122.5),(2832.5,560.25),(3400,560.25),(3400,560.05),(2832.7,560.05),(2832.7,-122.3),(2965.05,-122.3),(2965.05,-100),(2965.25,-100),(2965.25,-122.5)],
  [(2837.3,-117.7),(2837.3,519.95),(3400,519.95),(3400,519.75),(2837.5,519.75),(2837.5,-117.5),(2949.75,-117.5),(2949.75,-100),(2949.95,-100),(2949.95,-117.7)],
  [(2837,-118),(2837,520.25),(3400,520.25),(3400,520.05),(2837.2,520.05),(2837.2,-117.8),(2950.05,-117.8),(2950.05,-100),(2950.25,-100),(2950.25,-118)],
  [(2841.8,-113.2),(2841.8,479.95),(3400,479.95),(3400,479.75),(2842,479.75),(2842,-113),(2934.75,-113),(2934.75,-100),(2934.95,-100),(2934.95,-113.2)],
  [(2841.5,-113.5),(2841.5,480.25),(3400,480.25),(3400,480.05),(2841.7,480.05),(2841.7,-113.3),(2935.05,-113.3),(2935.05,-100),(2935.25,-100),(2935.25,-113.5)],
  [(2846.3,-108.7),(2846.3,439.95),(3400,439.95),(3400,439.75),(2846.5,439.75),(2846.5,-108.5),(2919.75,-108.5),(2919.75,-100),(2919.95,-100),(2919.95,-108.7)],
  [(2846,-109),(2846,440.25),(3400,440.25),(3400,440.05),(2846.2,440.05),(2846.2,-108.8),(2920.05,-108.8),(2920.05,-100),(2920.25,-100),(2920.25,-109)],
  [(2850.8,-104.2),(2850.8,399.95),(3400,399.95),(3400,399.75),(2851,399.75),(2851,-104),(2904.75,-104),(2904.75,-100),(2904.95,-100),(2904.95,-104.2)],
  [(2850.5,-104.5),(2850.5,400.25),(3400,400.25),(3400,400.05),(2850.7,400.05),(2850.7,-104.3),(2905.05,-104.3),(2905.05,-100),(2905.25,-100),(2905.25,-104.5)])
R(test_smart_routing_start, FLOORPLAN, [(-110,-100,100,100), (2900,-100,3110,100), (-100,2890,100,3100), (2900,2900,3100,3110)])
P(test_smart_routing_start, FLOORPLAN, [(-400,-560),(-400,600),(-400,600),(-400,-560)],
  [(-600,2600),(-600,2600),(560,2600),(560,2600)],
  [(3400,-600),(3400,560),(3400,560),(3400,-600)],
  [(2440,3400),(2440,3400),(3600,3400),(3600,3400)])

lib.write_gds('test_smart_routing_start_bboxFalse_sort_portsFalse_indirectFalse_start_angle-1m2True_m1False_zTrue_p1True_p2True.gds')
